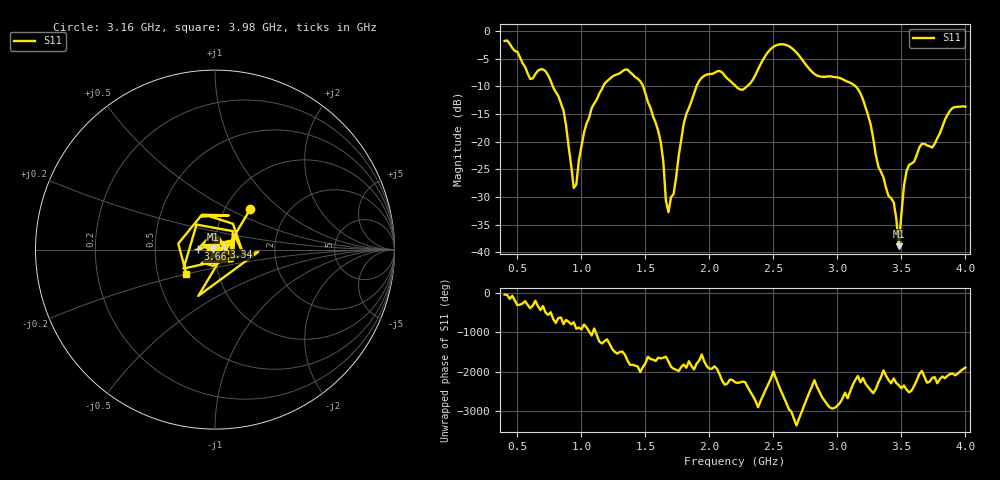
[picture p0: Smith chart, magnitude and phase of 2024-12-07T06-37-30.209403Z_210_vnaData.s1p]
!Created with skrf (http://scikit-rf.org).
# Hz S RI R 50.0
!freq ReS11 ImS11
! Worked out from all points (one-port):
!   181 points, 400 MHz to 4 GHz, reference 50 ohm
!   lowest |S11| = -38.9 dB at 3.48 GHz (marker M1), VSWR 1.02, Z = 48.9 + j0.114 ohm
!   |S11| at or under -10 dB: 776.8 MHz to 1.17 GHz (392.9 MHz wide, 40.4 % of centre); 1.483 GHz to 1.898 GHz (415.6 MHz wide, 24.6 % of centre); 3.144 GHz to end of sweep (the widest 3 of 4)
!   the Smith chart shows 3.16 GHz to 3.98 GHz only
!   S11 on the Smith chart (normalised r, x): 3.16 GHz: 1.31, +0.65; 3.34 GHz: 1.11, +0.03; 3.66 GHz: 0.83, +0.01; 3.98 GHz: 0.70, -0.20
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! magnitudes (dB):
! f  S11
! 400 MHz  -1.8
! 600 MHz  -8.6
! 720 MHz  -7.2
! 860 MHz  -14.3
! 940 MHz  -28.4
! 1.08 GHz  -13.9
! 1.3 GHz  -7.6
! 1.48 GHz  -9.8
! 1.62 GHz  -20.1
! 1.68 GHz  -32.8
! 1.76 GHz  -22.6
! 1.82 GHz  -15.0
! 1.92 GHz  -9.0
! 2.2 GHz  -9.8
! 2.32 GHz  -9.4
! 2.5 GHz  -2.8
! 2.66 GHz  -3.4
! 3.1 GHz  -9.3
! 3.16 GHz  -10.4
! 3.34 GHz  -25.4
! 3.44 GHz  -31.0
! 3.48 GHz  -38.9
! 3.52 GHz  -28.0
! 3.56 GHz  -24.2
! 3.66 GHz  -20.4
! 3.74 GHz  -21.1
! 3.98 GHz  -13.6
! 4 GHz  -13.7
